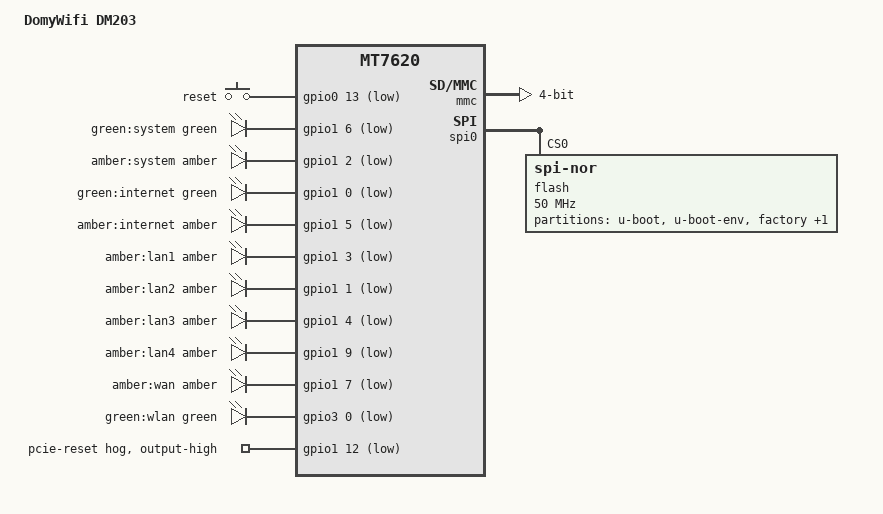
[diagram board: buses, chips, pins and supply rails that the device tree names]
// SPDX-License-Identifier: GPL-2.0-or-later

/dts-v1/;

#include "mt7620.dtsi"

#include <dt-bindings/gpio/gpio.h>
#include <dt-bindings/input/input.h>
#include <dt-bindings/leds/common.h>

/ {
	compatible = "domywifi,dm203", "mediatek,mt7620-soc";
	model = "DomyWifi DM203";

	aliases {
		button-boot1 = &key_reset;
		led-status1 = &led_green;
		led-status2 = &led_amber;
		serial0 = &uartlite;
		spi0 = &spi0;
	};

	chosen {
		stdout-path = &uartlite;
	};

	config {
		button-reset-env;
	};

	gpio-keys {
		compatible = "gpio-keys";

		key_reset: reset {
			label = "reset";
			gpios = <&gpio0 13 GPIO_ACTIVE_LOW>;
			linux,code = <KEY_RESTART>;
		};
	};

	gpio-leds {
		compatible = "gpio-leds";

		led_green: led-system_green {
			label = "green:system";
			color = <LED_COLOR_ID_GREEN>;
			function = LED_FUNCTION_STATUS;
			gpios = <&gpio1 6 GPIO_ACTIVE_LOW>;
			default-state = "on";
		};

		led_amber: led-system_amber {
			label = "amber:system";
			color = <LED_COLOR_ID_AMBER>;
			function = LED_FUNCTION_STATUS;
			gpios = <&gpio1 2 GPIO_ACTIVE_LOW>;
			default-state = "off";
		};

		led-internet_green {
			label = "green:internet";
			color = <LED_COLOR_ID_GREEN>;
			function = "internet";
			gpios = <&gpio1 0 GPIO_ACTIVE_LOW>;
			default-state = "off";
		};

		led-internet_amber {
			label = "amber:internet";
			color = <LED_COLOR_ID_AMBER>;
			function = "internet";
			gpios = <&gpio1 5 GPIO_ACTIVE_LOW>;
			default-state = "off";
		};

		led-lan1 {
			label = "amber:lan1";
			color = <LED_COLOR_ID_AMBER>;
			function = LED_FUNCTION_LAN;
			function-enumerator = <1>;
			gpios = <&gpio1 3 GPIO_ACTIVE_LOW>;
			default-state = "off";
		};

		led-lan2 {
			label = "amber:lan2";
			color = <LED_COLOR_ID_AMBER>;
			function = LED_FUNCTION_LAN;
			function-enumerator = <2>;
			gpios = <&gpio1 1 GPIO_ACTIVE_LOW>;
			default-state = "off";
		};

		led-lan3 {
			label = "amber:lan3";
			color = <LED_COLOR_ID_AMBER>;
			function = LED_FUNCTION_LAN;
			function-enumerator = <3>;
			gpios = <&gpio1 4 GPIO_ACTIVE_LOW>;
			default-state = "off";
		};

		led-lan4 {
			label = "amber:lan4";
			color = <LED_COLOR_ID_AMBER>;
			function = LED_FUNCTION_LAN;
			function-enumerator = <4>;
			gpios = <&gpio1 9 GPIO_ACTIVE_LOW>;
			default-state = "off";
		};

		led-wan {
			label = "amber:wan";
			color = <LED_COLOR_ID_AMBER>;
			function = LED_FUNCTION_WAN;
			gpios = <&gpio1 7 GPIO_ACTIVE_LOW>;
			default-state = "off";
		};

		led-wlan {
			label = "green:wlan";
			color = <LED_COLOR_ID_GREEN>;
			function = LED_FUNCTION_WLAN;
			gpios = <&gpio3 0 GPIO_ACTIVE_LOW>;
			default-state = "off";
		};
	};
};

&gpio1 {
	pcie-reset {
		gpio-hog;
		gpios = <12 GPIO_ACTIVE_LOW>;
		output-high;
	};
};

&mmc {
	status = "okay";

	bus-width = <4>;
	cap-sd-highspeed;
};

&spi0 {
	flash@0 {
		compatible = "jedec,spi-nor";
		reg = <0>;
		spi-max-frequency = <50000000>;

		partitions {
			compatible = "fixed-partitions";
			#address-cells = <1>;
			#size-cells = <1>;

			partition@0 {
				label = "u-boot";
				reg = <0x000000 0x030000>;
			};

			partition@30000 {
				label = "u-boot-env";
				reg = <0x030000 0x010000>;
			};

			partition@40000 {
				label = "factory";
				reg = <0x040000 0x010000>;
			};

			partition@50000 {
				label = "firmware";
				reg = <0x050000 0xfb0000>;
			};
		};
	};
};

&state_default {
	gpios {
		groups = "i2c", "uartf", "mdio", "rgmii1", "rgmii2", "perst", \
			 "pa", "wdt rst", "wled";
		function = "gpio";
	};

	sd_pins {
		groups = "nand";
		function = "sd";
	};

	pleds {
		groups = "ephy led";
		function = "led";
	};
};
